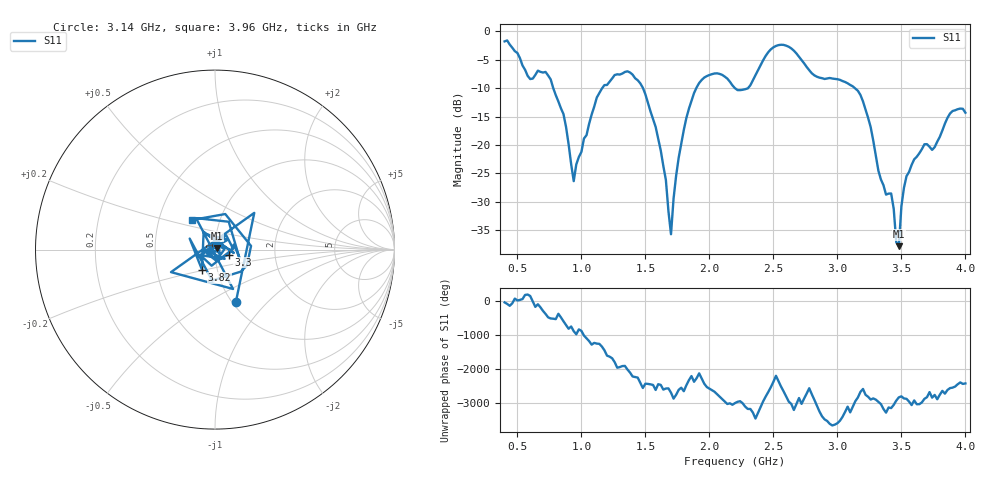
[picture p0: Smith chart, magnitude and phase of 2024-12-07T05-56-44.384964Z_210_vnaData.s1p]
!Created with skrf (http://scikit-rf.org).
# Hz S RI R 50.0
!freq ReS11 ImS11
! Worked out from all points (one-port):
!   181 points, 400 MHz to 4 GHz, reference 50 ohm
!   lowest |S11| = -37.8 dB at 3.48 GHz (marker M1), VSWR 1.03, Z = 50.9 + j0.948 ohm
!   |S11| at or under -10 dB: 780 MHz to 1.163 GHz (382.6 MHz wide, 39.4 % of centre); 1.481 GHz to 1.898 GHz (416.7 MHz wide, 24.7 % of centre); 3.137 GHz to end of sweep (the widest 3 of 4)
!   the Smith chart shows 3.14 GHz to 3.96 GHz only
!   S11 on the Smith chart (normalised r, x): 3.14 GHz: 1.04, -0.67; 3.3 GHz: 1.16, -0.07; 3.82 GHz: 0.84, -0.19; 3.96 GHz: 0.74, +0.25
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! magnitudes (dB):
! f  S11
! 400 MHz  -1.8
! 600 MHz  -8.4
! 720 MHz  -7.1
! 860 MHz  -14.6
! 940 MHz  -26.4
! 1.12 GHz  -11.7
! 1.3 GHz  -7.6
! 1.5 GHz  -11.1
! 1.62 GHz  -21.0
! 1.7 GHz  -35.7
! 1.76 GHz  -22.3
! 1.92 GHz  -9.1
! 2.2 GHz  -10.0
! 2.3 GHz  -10.0
! 2.5 GHz  -2.8
! 2.66 GHz  -3.4
! 3.1 GHz  -9.4
! 3.14 GHz  -10.1
! 3.3 GHz  -21.9
! 3.38 GHz  -28.8
! 3.42 GHz  -28.6
! 3.46 GHz  -37.2
! 3.48 GHz  -37.8
! 3.5 GHz  -30.8
! 3.56 GHz  -24.8
! 3.82 GHz  -17.5
! 3.96 GHz  -13.6
! 4 GHz  -14.3
